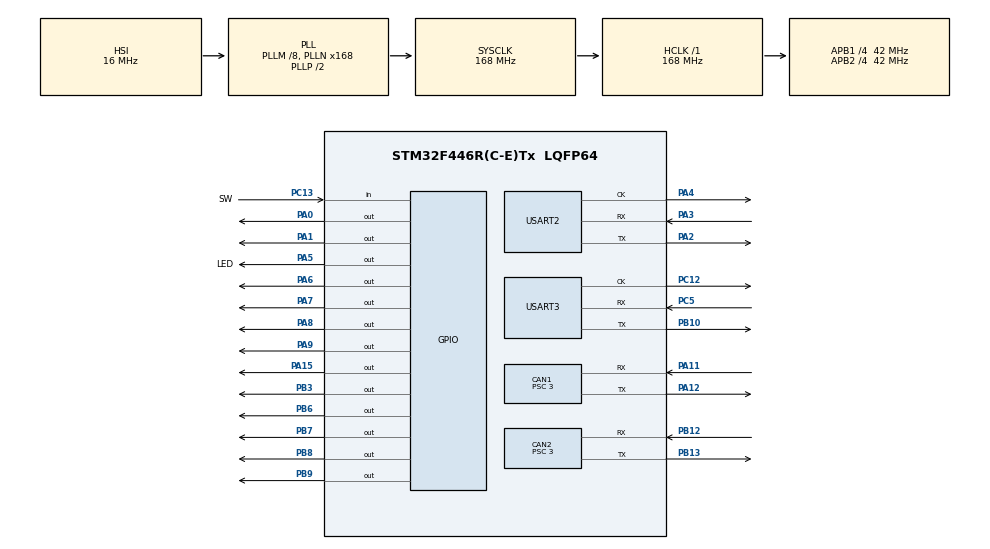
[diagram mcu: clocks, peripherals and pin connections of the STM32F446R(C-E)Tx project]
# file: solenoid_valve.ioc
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CAN1.ABOM=ENABLE
CAN1.BS1=CAN_BS1_11TQ
CAN1.BS2=CAN_BS2_2TQ
CAN1.CalculateBaudRate=1000000
CAN1.CalculateTimeBit=1000
CAN1.CalculateTimeQuantum=71.42857142857143
CAN1.NART=ENABLE
CAN1.Prescaler=3
CAN1.SJW=CAN_SJW_4TQ
CAN2.ABOM=ENABLE
CAN2.BS1=CAN_BS1_11TQ
CAN2.BS2=CAN_BS2_2TQ
CAN2.CalculateBaudRate=1000000
CAN2.CalculateTimeBit=1000
CAN2.CalculateTimeQuantum=71.42857142857143
CAN2.NART=ENABLE
CAN2.Prescaler=3
CAN2.SJW=CAN_SJW_4TQ
Mcu.Family=STM32F4
Mcu.Name=STM32F446R(C-E)Tx
Mcu.Package=LQFP64
NVIC.CAN1_RX0_IRQn=true\:0\:0\:false\:false\:true\:true\:true\:true
NVIC.PriorityGroup=NVIC_PRIORITYGROUP_4
PA0-WKUP.Signal=GPIO_Output
PA1.Signal=GPIO_Output
PA11.Mode=CAN_Activate
PA11.Signal=CAN1_RX
PA12.Mode=CAN_Activate
PA12.Signal=CAN1_TX
PA15.Signal=GPIO_Output
PA2.Mode=Synchronous
PA2.Signal=USART2_TX
PA3.Mode=Synchronous
PA3.Signal=USART2_RX
PA4.Mode=Synchronous
PA4.Signal=USART2_CK
PA5.GPIO_Label=LED
PA5.Signal=GPIO_Output
PA6.Signal=GPIO_Output
PA7.Signal=GPIO_Output
PA8.Signal=GPIO_Output
PA9.Signal=GPIO_Output
PB10.Mode=Synchronous
PB10.Signal=USART3_TX
PB12.Mode=CAN_Activate
PB12.Signal=CAN2_RX
PB13.Mode=CAN_Activate
PB13.Signal=CAN2_TX
PB3.Signal=GPIO_Output
PB6.Signal=GPIO_Output
PB7.Signal=GPIO_Output
PB8.Signal=GPIO_Output
PB9.Signal=GPIO_Output
PC12.Mode=Synchronous
PC12.Signal=USART3_CK
PC13.GPIO_Label=SW
PC13.Signal=GPIO_Input
PC5.Mode=Synchronous
PC5.Signal=USART3_RX
ProjectManager.HeapSize=0x200
ProjectManager.StackSize=0x400
ProjectManager.TargetToolchain=CMake
RCC.AHBFreq_Value=168000000
RCC.APB1CLKDivider=RCC_HCLK_DIV4
RCC.APB1Freq_Value=42000000
RCC.APB1TimFreq_Value=84000000
RCC.APB2CLKDivider=RCC_HCLK_DIV4
RCC.APB2Freq_Value=42000000
RCC.APB2TimFreq_Value=84000000
RCC.CortexFreq_Value=168000000
RCC.HCLKFreq_Value=168000000
RCC.PLLM=8
RCC.PLLN=168
RCC.SYSCLKFreq_VALUE=168000000
RCC.SYSCLKSource=RCC_SYSCLKSOURCE_PLLCLK
RCC.USBFreq_Value=168000000
RCC.VCOOutputFreq_Value=336000000
USART2.VirtualMode=VM_SYNC
USART3.VirtualMode=VM_SYNC
board=custom

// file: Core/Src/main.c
/* USER CODE BEGIN Header */
/* USER CODE END Header */
#include "main.h"

/* USER CODE BEGIN Includes */
#include "Altair_library_for_CubeIDE/can_lib.h"
/* USER CODE END Includes */

/* USER CODE BEGIN PD */
#define SV_COUNT 12U
#define CAN_SV_CMD_STD_ID 0x301U
#define CAN_RX_TIMEOUT_MS 200U
/* USER CODE END PD */

CAN_HandleTypeDef hcan1;
CAN_HandleTypeDef hcan2;

USART_HandleTypeDef husart2;
USART_HandleTypeDef husart3;

/* USER CODE BEGIN PV */
static volatile uint8_t g_sv_target_state[SV_COUNT] = {0};
static volatile uint32_t g_last_can_rx_tick = 0U;

typedef struct {
  GPIO_TypeDef *port;
  uint16_t pin;
} SV_PinMappping_t;

static const SV_PinMappping_t SV_PINS[SV_COUNT] = {
    {GPIOA, GPIO_PIN_0},  /* A0 */
    {GPIOA, GPIO_PIN_1},  /* A1 */
    {GPIOA, GPIO_PIN_6},  /* A6 */
    {GPIOA, GPIO_PIN_7},  /* A7 */
    {GPIOA, GPIO_PIN_8},  /* A8 */
    {GPIOA, GPIO_PIN_9},  /* A9 */
    {GPIOA, GPIO_PIN_15}, /* A15 */
    {GPIOB, GPIO_PIN_3},  /* B3 */
    {GPIOB, GPIO_PIN_6},  /* B6 */
    {GPIOB, GPIO_PIN_7},  /* B7 */
    {GPIOB, GPIO_PIN_8},  /* B8 */
    {GPIOB, GPIO_PIN_9}   /* B9 */
};
/* USER CODE END PV */

void SystemClock_Config(void);
static void MX_GPIO_Init(void);
static void MX_CAN1_Init(void);
static void MX_CAN2_Init(void);
static void MX_USART2_Init(void);
static void MX_USART3_Init(void);
/* USER CODE BEGIN PFP */
static void SV_ApplyTargets(void);
static void SV_ProcessCanCommand(void);
static uint8_t SV_IsAcceptedCanId(uint32_t std_id);
/* USER CODE END PFP */

int main(void) {

  /* MCU Configuration--------------------------------------------------------*/

  /* Reset of all peripherals, Initializes the Flash interface and the Systick.
   */
  HAL_Init();

  /* Configure the system clock */
  SystemClock_Config();

  /* Initialize all configured peripherals */
  MX_GPIO_Init();
  MX_CAN1_Init();
  MX_CAN2_Init();
  MX_USART2_Init();
  MX_USART3_Init();
  /* USER CODE BEGIN 2 */
  /* AltairライブラリのCAN初期化（フィルタ設定 + 受信割り込み開始） */
  CanInitConfig can1_config = Can_DefaultInitConfig(&hcan1);
  if (Can_Init(&hcan1, &can1_config) != HAL_OK) {
    Error_Handler();
  }

  /* CAN2も初期化（どちらのポートに接続されてもメッセージを受信できるようにする）
   */
  CanInitConfig can2_config = Can_DefaultInitConfig(&hcan2);
  if (Can_Init(&hcan2, &can2_config) != HAL_OK) {
    Error_Handler();
  }

  SV_ApplyTargets();
  /* USER CODE END 2 */

  /* Infinite loop */
  /* USER CODE BEGIN WHILE */
  while (1) {
    SV_ProcessCanCommand();

    if ((HAL_GetTick() - g_last_can_rx_tick) > CAN_RX_TIMEOUT_MS) {
      HAL_GPIO_WritePin(GPIOA, LED_Pin, GPIO_PIN_RESET);
    } else {
      HAL_GPIO_WritePin(GPIOA, LED_Pin, GPIO_PIN_SET);
    }
    /* USER CODE END WHILE */

  }
}

void SystemClock_Config(void) {
  RCC_OscInitTypeDef RCC_OscInitStruct = {0};
  RCC_ClkInitTypeDef RCC_ClkInitStruct = {0};

  /** Configure the main internal regulator output voltage
   */
  __HAL_RCC_PWR_CLK_ENABLE();
  __HAL_PWR_VOLTAGESCALING_CONFIG(PWR_REGULATOR_VOLTAGE_SCALE1);

  /** Initializes the RCC Oscillators according to the specified parameters
   * in the RCC_OscInitTypeDef structure.
   */
  RCC_OscInitStruct.OscillatorType = RCC_OSCILLATORTYPE_HSI;
  RCC_OscInitStruct.HSIState = RCC_HSI_ON;
  RCC_OscInitStruct.HSICalibrationValue = RCC_HSICALIBRATION_DEFAULT;
  RCC_OscInitStruct.PLL.PLLState = RCC_PLL_ON;
  RCC_OscInitStruct.PLL.PLLSource = RCC_PLLSOURCE_HSI;
  RCC_OscInitStruct.PLL.PLLM = 8;
  RCC_OscInitStruct.PLL.PLLN = 168;
  RCC_OscInitStruct.PLL.PLLP = RCC_PLLP_DIV2;
  RCC_OscInitStruct.PLL.PLLQ = 2;
  RCC_OscInitStruct.PLL.PLLR = 2;
  if (HAL_RCC_OscConfig(&RCC_OscInitStruct) != HAL_OK) {
    Error_Handler();
  }

  /** Initializes the CPU, AHB and APB buses clocks
   */
  RCC_ClkInitStruct.ClockType = RCC_CLOCKTYPE_HCLK | RCC_CLOCKTYPE_SYSCLK |
                                RCC_CLOCKTYPE_PCLK1 | RCC_CLOCKTYPE_PCLK2;
  RCC_ClkInitStruct.SYSCLKSource = RCC_SYSCLKSOURCE_PLLCLK;
  RCC_ClkInitStruct.AHBCLKDivider = RCC_SYSCLK_DIV1;
  RCC_ClkInitStruct.APB1CLKDivider = RCC_HCLK_DIV4;
  RCC_ClkInitStruct.APB2CLKDivider = RCC_HCLK_DIV4;

  if (HAL_RCC_ClockConfig(&RCC_ClkInitStruct, FLASH_LATENCY_5) != HAL_OK) {
    Error_Handler();
  }
}

static void MX_CAN1_Init(void) {

  hcan1.Instance = CAN1;
  hcan1.Init.Prescaler = 2;
  hcan1.Init.Mode = CAN_MODE_NORMAL;
  hcan1.Init.SyncJumpWidth = CAN_SJW_2TQ;
  hcan1.Init.TimeSeg1 = CAN_BS1_16TQ;
  hcan1.Init.TimeSeg2 = CAN_BS2_4TQ;
  hcan1.Init.TimeTriggeredMode = DISABLE;
  hcan1.Init.AutoBusOff = ENABLE;
  hcan1.Init.AutoWakeUp = DISABLE;
  hcan1.Init.AutoRetransmission = ENABLE;
  hcan1.Init.ReceiveFifoLocked = DISABLE;
  hcan1.Init.TransmitFifoPriority = DISABLE;
  if (HAL_CAN_Init(&hcan1) != HAL_OK) {
    Error_Handler();
  }
}

static void MX_CAN2_Init(void) {

  hcan2.Instance = CAN2;
  hcan2.Init.Prescaler = 2;
  hcan2.Init.Mode = CAN_MODE_NORMAL;
  hcan2.Init.SyncJumpWidth = CAN_SJW_2TQ;
  hcan2.Init.TimeSeg1 = CAN_BS1_16TQ;
  hcan2.Init.TimeSeg2 = CAN_BS2_4TQ;
  hcan2.Init.TimeTriggeredMode = DISABLE;
  hcan2.Init.AutoBusOff = ENABLE;
  hcan2.Init.AutoWakeUp = DISABLE;
  hcan2.Init.AutoRetransmission = ENABLE;
  hcan2.Init.ReceiveFifoLocked = DISABLE;
  hcan2.Init.TransmitFifoPriority = DISABLE;
  if (HAL_CAN_Init(&hcan2) != HAL_OK) {
    Error_Handler();
  }
}

static void MX_USART2_Init(void) {

  husart2.Instance = USART2;
  husart2.Init.BaudRate = 115200;
  husart2.Init.WordLength = USART_WORDLENGTH_8B;
  husart2.Init.StopBits = USART_STOPBITS_1;
  husart2.Init.Parity = USART_PARITY_NONE;
  husart2.Init.Mode = USART_MODE_TX_RX;
  husart2.Init.CLKPolarity = USART_POLARITY_LOW;
  husart2.Init.CLKPhase = USART_PHASE_1EDGE;
  husart2.Init.CLKLastBit = USART_LASTBIT_DISABLE;
  if (HAL_USART_Init(&husart2) != HAL_OK) {
    Error_Handler();
  }
}

static void MX_USART3_Init(void) {

  husart3.Instance = USART3;
  husart3.Init.BaudRate = 115200;
  husart3.Init.WordLength = USART_WORDLENGTH_8B;
  husart3.Init.StopBits = USART_STOPBITS_1;
  husart3.Init.Parity = USART_PARITY_NONE;
  husart3.Init.Mode = USART_MODE_TX_RX;
  husart3.Init.CLKPolarity = USART_POLARITY_LOW;
  husart3.Init.CLKPhase = USART_PHASE_1EDGE;
  husart3.Init.CLKLastBit = USART_LASTBIT_DISABLE;
  if (HAL_USART_Init(&husart3) != HAL_OK) {
    Error_Handler();
  }
}

static void MX_GPIO_Init(void) {
  GPIO_InitTypeDef GPIO_InitStruct = {0};

  /* GPIO Ports Clock Enable */
  __HAL_RCC_GPIOC_CLK_ENABLE();
  __HAL_RCC_GPIOA_CLK_ENABLE();
  __HAL_RCC_GPIOB_CLK_ENABLE();

  /*Configure GPIO pin Output Level */
  HAL_GPIO_WritePin(GPIOA,
                    GPIO_PIN_0 | GPIO_PIN_1 | LED_Pin | GPIO_PIN_6 |
                        GPIO_PIN_7 | GPIO_PIN_8 | GPIO_PIN_9 | GPIO_PIN_15,
                    GPIO_PIN_RESET);

  /*Configure GPIO pin Output Level */
  HAL_GPIO_WritePin(
      GPIOB, GPIO_PIN_3 | GPIO_PIN_6 | GPIO_PIN_7 | GPIO_PIN_8 | GPIO_PIN_9,
      GPIO_PIN_RESET);

  /*Configure GPIO pin : SW_Pin */
  GPIO_InitStruct.Pin = SW_Pin;
  GPIO_InitStruct.Mode = GPIO_MODE_INPUT;
  GPIO_InitStruct.Pull = GPIO_NOPULL;
  HAL_GPIO_Init(SW_GPIO_Port, &GPIO_InitStruct);

  /*Configure GPIO pins : PA0 PA1 LED_Pin PA6
                           PA7 PA8 PA9 PA15 */
  GPIO_InitStruct.Pin = GPIO_PIN_0 | GPIO_PIN_1 | LED_Pin | GPIO_PIN_6 |
                        GPIO_PIN_7 | GPIO_PIN_8 | GPIO_PIN_9 | GPIO_PIN_15;
  GPIO_InitStruct.Mode = GPIO_MODE_OUTPUT_PP;
  GPIO_InitStruct.Pull = GPIO_NOPULL;
  GPIO_InitStruct.Speed = GPIO_SPEED_FREQ_LOW;
  HAL_GPIO_Init(GPIOA, &GPIO_InitStruct);

  /*Configure GPIO pins : PB3 PB6 PB7 PB8
                           PB9 */
  GPIO_InitStruct.Pin =
      GPIO_PIN_3 | GPIO_PIN_6 | GPIO_PIN_7 | GPIO_PIN_8 | GPIO_PIN_9;
  GPIO_InitStruct.Mode = GPIO_MODE_OUTPUT_PP;
  GPIO_InitStruct.Pull = GPIO_NOPULL;
  GPIO_InitStruct.Speed = GPIO_SPEED_FREQ_LOW;
  HAL_GPIO_Init(GPIOB, &GPIO_InitStruct);

}

/* USER CODE BEGIN 4 */
static void SV_ProcessCanFrame(const CanRxData *rx) {
  // 受信割り込みが来たこと自体を確認するためのデバッグトグル
  HAL_GPIO_TogglePin(GPIOA, LED_Pin);

  if (rx->dlc >= 2 && SV_IsAcceptedCanId(rx->std_id)) {
    g_last_can_rx_tick = HAL_GetTick();

    uint16_t state16 = rx->data[0] | (rx->data[1] << 8);

    for (uint8_t i = 0; i < SV_COUNT; i++) {
      g_sv_target_state[i] = (state16 & (1 << i)) ? 1 : 0;
    }

    SV_ApplyTargets();
  }
}

static void SV_ProcessCanCommand(void) {
  CanRxData rx;

  // 受信キューに溜まった全フレームを順番に処理する
  while (Can_Receive(&g_can1_rx_queue, &rx)) {
    SV_ProcessCanFrame(&rx);
  }

  while (Can_Receive(&g_can2_rx_queue, &rx)) {
    SV_ProcessCanFrame(&rx);
  }
}

static void SV_ApplyTargets(void) {
  for (uint8_t i = 0; i < SV_COUNT; i++) {
    GPIO_PinState pin_state =
        (g_sv_target_state[i] == 1) ? GPIO_PIN_SET : GPIO_PIN_RESET;
    HAL_GPIO_WritePin(SV_PINS[i].port, SV_PINS[i].pin, pin_state);
  }
}

static uint8_t SV_IsAcceptedCanId(uint32_t std_id) {
  if (std_id == CAN_SV_CMD_STD_ID)
    return 1;
  return 0;
}
/* USER CODE END 4 */

void Error_Handler(void) {
}
